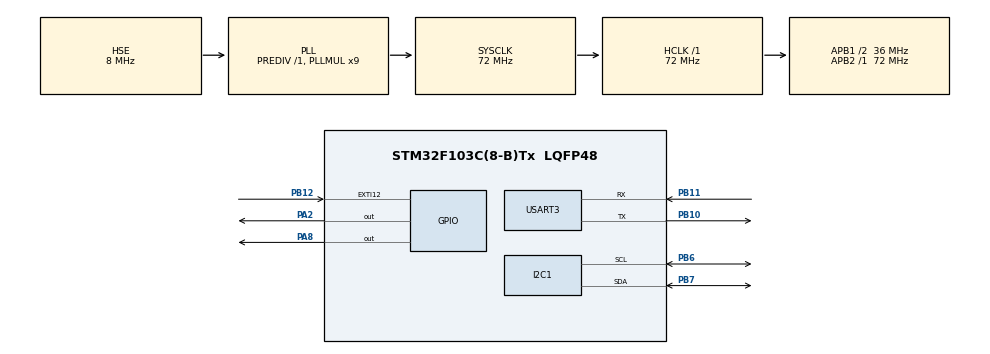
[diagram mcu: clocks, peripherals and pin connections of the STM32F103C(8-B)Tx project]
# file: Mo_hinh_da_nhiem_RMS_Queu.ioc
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FREERTOS.BinarySemaphores01=Sem_Set_CDT,Dynamic,NULL,Available;Sem_On,Dynamic,NULL,Available;Sem_Off,Dynamic,NULL,Available
FREERTOS.Mutexes01=Mutex_DHT22,Dynamic,NULL,Available;Mutex_HCSR04,Dynamic,NULL,Available
FREERTOS.Queues01=myQueue01,2,uint8_t,0,Dynamic,NULL,NULL;Queue_CDT,4,uint8_t,0,Dynamic,NULL,NULL
FREERTOS.Tasks01=Get_Distance,40,128,Funciton_Get_Distance,Default,NULL,Dynamic,NULL,NULL;Get_Temp,8,128,Function_Get_Temp,Default,NULL,Dynamic,NULL,NULL;Get_Humidity,24,128,Function_Get_Humidity,Default,NULL,Dynamic,NULL,NULL;Control_On,48,128,Function_Control_On,Default,NULL,Dynamic,NULL,NULL;LCD_UART,41,128,Function_LCD_UART,Default,NULL,Dynamic,NULL,NULL;Set_CDT,42,128,Function_Set_CDT,Default,NULL,Dynamic,NULL,NULL;Control_Off,48,128,Function_Control_Off,Default,NULL,Dynamic,NULL,NULL
FREERTOS.configTOTAL_HEAP_SIZE=12000
FREERTOS.configUSE_NEWLIB_REENTRANT=1
Mcu.Family=STM32F1
Mcu.Name=STM32F103C(8-B)Tx
Mcu.Package=LQFP48
NVIC.EXTI15_10_IRQn=true\:5\:0\:false\:false\:true\:true\:true\:true\:true
NVIC.PriorityGroup=NVIC_PRIORITYGROUP_4
NVIC.TIM2_IRQn=true\:5\:0\:false\:false\:true\:true\:true\:true\:true
NVIC.USART3_IRQn=true\:5\:0\:false\:false\:true\:true\:true\:true\:true
PA13.Mode=Serial_Wire
PA13.Signal=SYS_JTMS-SWDIO
PA14.Mode=Serial_Wire
PA14.Signal=SYS_JTCK-SWCLK
PA2.Signal=GPIO_Output
PA8.Signal=GPIO_Output
PB10.Mode=Asynchronous
PB10.Signal=USART3_TX
PB11.Mode=Asynchronous
PB11.Signal=USART3_RX
PB12.GPIO_ModeDefaultEXTI=GPIO_MODE_IT_RISING_FALLING
PB12.Signal=GPXTI12
PB6.Mode=I2C
PB6.Signal=I2C1_SCL
PB7.Mode=I2C
PB7.Signal=I2C1_SDA
PD0-OSC_IN.Mode=HSE-External-Oscillator
PD0-OSC_IN.Signal=RCC_OSC_IN
PD1-OSC_OUT.Mode=HSE-External-Oscillator
PD1-OSC_OUT.Signal=RCC_OSC_OUT
ProjectManager.HeapSize=0x200
ProjectManager.StackSize=0x400
ProjectManager.TargetToolchain=STM32CubeIDE
RCC.AHBFreq_Value=72000000
RCC.APB1CLKDivider=RCC_HCLK_DIV2
RCC.APB1Freq_Value=36000000
RCC.APB1TimFreq_Value=72000000
RCC.APB2Freq_Value=72000000
RCC.APB2TimFreq_Value=72000000
RCC.HCLKFreq_Value=72000000
RCC.PLLMUL=RCC_PLL_MUL9
RCC.PLLSourceVirtual=RCC_PLLSOURCE_HSE
RCC.SYSCLKFreq_VALUE=72000000
RCC.SYSCLKSource=RCC_SYSCLKSOURCE_PLLCLK
RCC.USBFreq_Value=72000000
TIM1.Period=29999
TIM1.Prescaler=63
TIM2.Period=2999
TIM2.Prescaler=7199
USART3.VirtualMode=VM_ASYNC
VP_FREERTOS_VS_CMSIS_V2.Mode=CMSIS_V2
VP_TIM1_VS_ClockSourceINT.Mode=Internal
VP_TIM2_VS_ClockSourceINT.Mode=Internal
board=custom

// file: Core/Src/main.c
/* USER CODE BEGIN Header */
/**
  ******************************************************************************
  * @file           : main.c
  * @brief          : Main program body
  ******************************************************************************
  * @attention
  *
  * Copyright (c) 2025 STMicroelectronics.
  * All rights reserved.
  *
  * This software is licensed under terms that can be found in the LICENSE file
  * in the root directory of this software component.
  * If no LICENSE file comes with this software, it is provided AS-IS.
  *
  ******************************************************************************
  */
/* USER CODE END Header */
#include "main.h"
#include "cmsis_os.h"

/* USER CODE BEGIN Includes */
#include <stdio.h>
#include <stdint.h>
#include <stdbool.h>
#include <string.h>
#include "dht22.h"
#include "I2C_LCD.h"
#include "stdio.h"
#include "hcsr04.h"
/* USER CODE END Includes */

/* USER CODE BEGIN PD */
#define MyI2C_LCD I2C_LCD_1
/* USER CODE END PD */

I2C_HandleTypeDef hi2c1;

TIM_HandleTypeDef htim1;
TIM_HandleTypeDef htim2;

UART_HandleTypeDef huart3;

/* Definitions for Get_Distance */
osThreadId_t Get_DistanceHandle;
const osThreadAttr_t Get_Distance_attributes = {
  .name = "Get_Distance",
  .stack_size = 128 * 4,
  .priority = (osPriority_t) osPriorityHigh,
};
/* Definitions for Get_Temp */
osThreadId_t Get_TempHandle;
const osThreadAttr_t Get_Temp_attributes = {
  .name = "Get_Temp",
  .stack_size = 128 * 4,
  .priority = (osPriority_t) osPriorityLow,
};
/* Definitions for Get_Humidity */
osThreadId_t Get_HumidityHandle;
const osThreadAttr_t Get_Humidity_attributes = {
  .name = "Get_Humidity",
  .stack_size = 128 * 4,
  .priority = (osPriority_t) osPriorityNormal,
};
/* Definitions for Control_On */
osThreadId_t Control_OnHandle;
const osThreadAttr_t Control_On_attributes = {
  .name = "Control_On",
  .stack_size = 128 * 4,
  .priority = (osPriority_t) osPriorityRealtime,
};
/* Definitions for LCD_UART */
osThreadId_t LCD_UARTHandle;
const osThreadAttr_t LCD_UART_attributes = {
  .name = "LCD_UART",
  .stack_size = 128 * 4,
  .priority = (osPriority_t) osPriorityHigh1,
};
/* Definitions for Set_CDT */
osThreadId_t Set_CDTHandle;
const osThreadAttr_t Set_CDT_attributes = {
  .name = "Set_CDT",
  .stack_size = 128 * 4,
  .priority = (osPriority_t) osPriorityHigh2,
};
/* Definitions for Control_Off */
osThreadId_t Control_OffHandle;
const osThreadAttr_t Control_Off_attributes = {
  .name = "Control_Off",
  .stack_size = 128 * 4,
  .priority = (osPriority_t) osPriorityRealtime,
};
/* Definitions for myQueue01 */
osMessageQueueId_t myQueue01Handle;
const osMessageQueueAttr_t myQueue01_attributes = {
  .name = "myQueue01"
};
/* Definitions for Queue_CDT */
osMessageQueueId_t Queue_CDTHandle;
const osMessageQueueAttr_t Queue_CDT_attributes = {
  .name = "Queue_CDT"
};
/* Definitions for Mutex_DHT22 */
osMutexId_t Mutex_DHT22Handle;
const osMutexAttr_t Mutex_DHT22_attributes = {
  .name = "Mutex_DHT22"
};
/* Definitions for Mutex_HCSR04 */
osMutexId_t Mutex_HCSR04Handle;
const osMutexAttr_t Mutex_HCSR04_attributes = {
  .name = "Mutex_HCSR04"
};
/* Definitions for Sem_Set_CDT */
osSemaphoreId_t Sem_Set_CDTHandle;
const osSemaphoreAttr_t Sem_Set_CDT_attributes = {
  .name = "Sem_Set_CDT"
};
/* Definitions for Sem_On */
osSemaphoreId_t Sem_OnHandle;
const osSemaphoreAttr_t Sem_On_attributes = {
  .name = "Sem_On"
};
/* Definitions for Sem_Off */
osSemaphoreId_t Sem_OffHandle;
const osSemaphoreAttr_t Sem_Off_attributes = {
  .name = "Sem_Off"
};
/* USER CODE BEGIN PV */
char buf1[16],buf2[16],buf[20]; // 1 dòng LCD chỉ có 16 ký tự
float T,H;
int time_offset = 100, i=0, interprut = 0;
uint8_t RX_data,index_buf = 0;
int start =0,RX_done=0;
uint32_t count=0;
#define RX_BUFFER_SIZE 20
uint8_t rxBuffer[20];  // Bộ đệm nhận dữ liệu
uint8_t rxData;                    // Lưu dữ liệu từng byte
int T_Distace = 200, T_Temp = 400, T_Humidity = 600;  //Chu kỳ cho từng task
int received_id; //id push vào hàng đợi
/* USER CODE END PV */

void SystemClock_Config(void);
static void MX_GPIO_Init(void);
static void MX_USART3_UART_Init(void);
static void MX_I2C1_Init(void);
static void MX_TIM1_Init(void);
static void MX_TIM2_Init(void);
void Funciton_Get_Distance(void *argument);
void Function_Get_Temp(void *argument);
void Function_Get_Humidity(void *argument);
void Function_Control_On(void *argument);
void Function_LCD_UART(void *argument);
void Function_Set_CDT(void *argument);
void Function_Control_Off(void *argument);

/* USER CODE BEGIN 0 */
#ifdef	__GNUC__
		#define PUTCHAR_PROTOTYPE int	__io_putchar(int ch)
#else
		#define PUTCHAR_PROTOTYPE int fputc(int ch, FILE *f)
#endif
 PUTCHAR_PROTOTYPE
{
	HAL_UART_Transmit(&huart3, (uint8_t *)&ch,1,0xFFFF);
	return ch;
}
 void SPTTS_Task1(void){
	 if (hc04_state == HCSR04_IDLE_STATE) {
	 	HCSR04_Start();
	 }
	 HCSR04_Handle();
	 sprintf(buf1,"D = %.1f cm", hcsr04_distance);
	 sprintf(buf2,"T=%.1f,H=%.1f", T,H);
	 I2C_LCD_Clear(MyI2C_LCD);
	 I2C_LCD_SetCursor(MyI2C_LCD, 0, 0);
	 I2C_LCD_WriteString(MyI2C_LCD, buf1);
	 I2C_LCD_SetCursor(MyI2C_LCD, 0, 1);
	 I2C_LCD_WriteString(MyI2C_LCD, buf2);
	 printf("D = %.1f\r\n",hcsr04_distance);
 }
 void SPTTS_Task2(void){
 	DHT22_Get_Humidity(&H);
 	sprintf(buf1,"D = %.1f cm", hcsr04_distance);
 	sprintf(buf2,"T=%.1f,H=%.1f", T,H);
 	I2C_LCD_SetCursor(MyI2C_LCD, 0, 0);
 	I2C_LCD_Clear(MyI2C_LCD);
 	I2C_LCD_WriteString(MyI2C_LCD, buf1);
 	I2C_LCD_SetCursor(MyI2C_LCD, 0, 11);
 	I2C_LCD_WriteString(MyI2C_LCD, buf2);
	printf("H = %.1f\r\n",H);
  }
 void SPTTS_Task3(void){
	 DHT22_Get_Temp(&T);
	 sprintf(buf1,"D = %.1f cm", hcsr04_distance);
	 sprintf(buf2,"T=%.1f,H=%.1f", T,H);
	 I2C_LCD_Clear(MyI2C_LCD);
	 I2C_LCD_SetCursor(MyI2C_LCD, 0, 0);
	 I2C_LCD_WriteString(MyI2C_LCD, buf1);
	 I2C_LCD_SetCursor(MyI2C_LCD, 0, 1);
	 I2C_LCD_WriteString(MyI2C_LCD, buf2);
	 printf("T = %.1f\r\n",T);
 }
 bool is_valid_format(const char *input, int num1, int num2, int num3, int num4) {
 			    // Sử dụng sscanf để kiểm tra định dạng
 			    int count = sscanf(input, "%d %d %d %d", &num1, &num2, &num3, &num4);

 			    // Nếu đúng định dạng "%d %d %d %d", sscanf sẽ trả về 4 (số giá trị đọc được)
 			    // Nếu có thêm ký tự dư thừa, count sẽ lớn hơn 4
 			    if ((num1 == 1 || num1==2 || num1 == 3)&& (count ==4)){
 			    	return 1;
 			    }
 			    else return 0;

 			}

/* USER CODE END 0 */

int main(void)
{

  /* MCU Configuration--------------------------------------------------------*/

  /* Reset of all peripherals, Initializes the Flash interface and the Systick. */
  HAL_Init();

  /* Configure the system clock */
  SystemClock_Config();

  /* Initialize all configured peripherals */
  MX_GPIO_Init();
  MX_USART3_UART_Init();
  MX_I2C1_Init();
  MX_TIM1_Init();
  MX_TIM2_Init();
  /* USER CODE BEGIN 2 */
  CoreDebug->DEMCR |= CoreDebug_DEMCR_TRCENA_Msk;
  DWT->CTRL |= DWT_CTRL_CYCCNTENA_Msk;
  // Bắt đầu Timer 2 ở chế độ ngắt
    //HAL_TIM_Base_Start_IT(&htim2);
  dht22_init();
  HCSR04_Init(&htim1);
  I2C_LCD_Init(MyI2C_LCD);
  HAL_UART_Receive_IT(&huart3, &RX_data, 1);

  /* USER CODE END 2 */

  /* Init scheduler */
  osKernelInitialize();
  /* Create the mutex(es) */
  /* creation of Mutex_DHT22 */
  Mutex_DHT22Handle = osMutexNew(&Mutex_DHT22_attributes);

  /* creation of Mutex_HCSR04 */
  Mutex_HCSR04Handle = osMutexNew(&Mutex_HCSR04_attributes);

  /* Create the semaphores(s) */
  /* creation of Sem_Set_CDT */
  Sem_Set_CDTHandle = osSemaphoreNew(1, 1, &Sem_Set_CDT_attributes);

  /* creation of Sem_On */
  Sem_OnHandle = osSemaphoreNew(1, 1, &Sem_On_attributes);

  /* creation of Sem_Off */
  Sem_OffHandle = osSemaphoreNew(1, 1, &Sem_Off_attributes);

  /* Create the queue(s) */
  /* creation of myQueue01 */
  myQueue01Handle = osMessageQueueNew (2, sizeof(uint8_t), &myQueue01_attributes);

  /* creation of Queue_CDT */
  Queue_CDTHandle = osMessageQueueNew (4, sizeof(uint8_t), &Queue_CDT_attributes);

  /* Create the thread(s) */
  /* creation of Get_Distance */
  Get_DistanceHandle = osThreadNew(Funciton_Get_Distance, NULL, &Get_Distance_attributes);

  /* creation of Get_Temp */
  Get_TempHandle = osThreadNew(Function_Get_Temp, NULL, &Get_Temp_attributes);

  /* creation of Get_Humidity */
  Get_HumidityHandle = osThreadNew(Function_Get_Humidity, NULL, &Get_Humidity_attributes);

  /* creation of Control_On */
  Control_OnHandle = osThreadNew(Function_Control_On, NULL, &Control_On_attributes);

  /* creation of LCD_UART */
  LCD_UARTHandle = osThreadNew(Function_LCD_UART, NULL, &LCD_UART_attributes);

  /* creation of Set_CDT */
  Set_CDTHandle = osThreadNew(Function_Set_CDT, NULL, &Set_CDT_attributes);

  /* creation of Control_Off */
  Control_OffHandle = osThreadNew(Function_Control_Off, NULL, &Control_Off_attributes);

  /* Start scheduler */
  osKernelStart();

  /* We should never get here as control is now taken by the scheduler */

  /* Infinite loop */
  while (1)
  {

  }
}

void SystemClock_Config(void)
{
  RCC_OscInitTypeDef RCC_OscInitStruct = {0};
  RCC_ClkInitTypeDef RCC_ClkInitStruct = {0};

  /** Initializes the RCC Oscillators according to the specified parameters
  * in the RCC_OscInitTypeDef structure.
  */
  RCC_OscInitStruct.OscillatorType = RCC_OSCILLATORTYPE_HSE;
  RCC_OscInitStruct.HSEState = RCC_HSE_ON;
  RCC_OscInitStruct.HSEPredivValue = RCC_HSE_PREDIV_DIV1;
  RCC_OscInitStruct.HSIState = RCC_HSI_ON;
  RCC_OscInitStruct.PLL.PLLState = RCC_PLL_ON;
  RCC_OscInitStruct.PLL.PLLSource = RCC_PLLSOURCE_HSE;
  RCC_OscInitStruct.PLL.PLLMUL = RCC_PLL_MUL9;
  if (HAL_RCC_OscConfig(&RCC_OscInitStruct) != HAL_OK)
  {
    Error_Handler();
  }

  /** Initializes the CPU, AHB and APB buses clocks
  */
  RCC_ClkInitStruct.ClockType = RCC_CLOCKTYPE_HCLK|RCC_CLOCKTYPE_SYSCLK
                              |RCC_CLOCKTYPE_PCLK1|RCC_CLOCKTYPE_PCLK2;
  RCC_ClkInitStruct.SYSCLKSource = RCC_SYSCLKSOURCE_PLLCLK;
  RCC_ClkInitStruct.AHBCLKDivider = RCC_SYSCLK_DIV1;
  RCC_ClkInitStruct.APB1CLKDivider = RCC_HCLK_DIV2;
  RCC_ClkInitStruct.APB2CLKDivider = RCC_HCLK_DIV1;

  if (HAL_RCC_ClockConfig(&RCC_ClkInitStruct, FLASH_LATENCY_2) != HAL_OK)
  {
    Error_Handler();
  }
}

static void MX_I2C1_Init(void)
{

  hi2c1.Instance = I2C1;
  hi2c1.Init.ClockSpeed = 100000;
  hi2c1.Init.DutyCycle = I2C_DUTYCYCLE_2;
  hi2c1.Init.OwnAddress1 = 0;
  hi2c1.Init.AddressingMode = I2C_ADDRESSINGMODE_7BIT;
  hi2c1.Init.DualAddressMode = I2C_DUALADDRESS_DISABLE;
  hi2c1.Init.OwnAddress2 = 0;
  hi2c1.Init.GeneralCallMode = I2C_GENERALCALL_DISABLE;
  hi2c1.Init.NoStretchMode = I2C_NOSTRETCH_DISABLE;
  if (HAL_I2C_Init(&hi2c1) != HAL_OK)
  {
    Error_Handler();
  }

}

static void MX_TIM1_Init(void)
{

  TIM_ClockConfigTypeDef sClockSourceConfig = {0};
  TIM_MasterConfigTypeDef sMasterConfig = {0};

  htim1.Instance = TIM1;
  htim1.Init.Prescaler = 63;
  htim1.Init.CounterMode = TIM_COUNTERMODE_UP;
  htim1.Init.Period = 29999;
  htim1.Init.ClockDivision = TIM_CLOCKDIVISION_DIV1;
  htim1.Init.RepetitionCounter = 0;
  htim1.Init.AutoReloadPreload = TIM_AUTORELOAD_PRELOAD_DISABLE;
  if (HAL_TIM_Base_Init(&htim1) != HAL_OK)
  {
    Error_Handler();
  }
  sClockSourceConfig.ClockSource = TIM_CLOCKSOURCE_INTERNAL;
  if (HAL_TIM_ConfigClockSource(&htim1, &sClockSourceConfig) != HAL_OK)
  {
    Error_Handler();
  }
  sMasterConfig.MasterOutputTrigger = TIM_TRGO_RESET;
  sMasterConfig.MasterSlaveMode = TIM_MASTERSLAVEMODE_DISABLE;
  if (HAL_TIMEx_MasterConfigSynchronization(&htim1, &sMasterConfig) != HAL_OK)
  {
    Error_Handler();
  }

}

static void MX_TIM2_Init(void)
{

  TIM_ClockConfigTypeDef sClockSourceConfig = {0};
  TIM_MasterConfigTypeDef sMasterConfig = {0};

  htim2.Instance = TIM2;
  htim2.Init.Prescaler = 7199;
  htim2.Init.CounterMode = TIM_COUNTERMODE_UP;
  htim2.Init.Period = 2999;
  htim2.Init.ClockDivision = TIM_CLOCKDIVISION_DIV1;
  htim2.Init.AutoReloadPreload = TIM_AUTORELOAD_PRELOAD_DISABLE;
  if (HAL_TIM_Base_Init(&htim2) != HAL_OK)
  {
    Error_Handler();
  }
  sClockSourceConfig.ClockSource = TIM_CLOCKSOURCE_INTERNAL;
  if (HAL_TIM_ConfigClockSource(&htim2, &sClockSourceConfig) != HAL_OK)
  {
    Error_Handler();
  }
  sMasterConfig.MasterOutputTrigger = TIM_TRGO_RESET;
  sMasterConfig.MasterSlaveMode = TIM_MASTERSLAVEMODE_DISABLE;
  if (HAL_TIMEx_MasterConfigSynchronization(&htim2, &sMasterConfig) != HAL_OK)
  {
    Error_Handler();
  }

}

static void MX_USART3_UART_Init(void)
{

  huart3.Instance = USART3;
  huart3.Init.BaudRate = 115200;
  huart3.Init.WordLength = UART_WORDLENGTH_8B;
  huart3.Init.StopBits = UART_STOPBITS_1;
  huart3.Init.Parity = UART_PARITY_NONE;
  huart3.Init.Mode = UART_MODE_TX_RX;
  huart3.Init.HwFlowCtl = UART_HWCONTROL_NONE;
  huart3.Init.OverSampling = UART_OVERSAMPLING_16;
  if (HAL_UART_Init(&huart3) != HAL_OK)
  {
    Error_Handler();
  }

}

static void MX_GPIO_Init(void)
{
  GPIO_InitTypeDef GPIO_InitStruct = {0};

  /* GPIO Ports Clock Enable */
  __HAL_RCC_GPIOD_CLK_ENABLE();
  __HAL_RCC_GPIOA_CLK_ENABLE();
  __HAL_RCC_GPIOB_CLK_ENABLE();

  /*Configure GPIO pin Output Level */
  HAL_GPIO_WritePin(GPIOA, GPIO_PIN_2|GPIO_PIN_8, GPIO_PIN_RESET);

  /*Configure GPIO pins : PA2 PA8 */
  GPIO_InitStruct.Pin = GPIO_PIN_2|GPIO_PIN_8;
  GPIO_InitStruct.Mode = GPIO_MODE_OUTPUT_PP;
  GPIO_InitStruct.Pull = GPIO_NOPULL;
  GPIO_InitStruct.Speed = GPIO_SPEED_FREQ_LOW;
  HAL_GPIO_Init(GPIOA, &GPIO_InitStruct);

  /*Configure GPIO pin : PB12 */
  GPIO_InitStruct.Pin = GPIO_PIN_12;
  GPIO_InitStruct.Mode = GPIO_MODE_IT_RISING_FALLING;
  GPIO_InitStruct.Pull = GPIO_NOPULL;
  HAL_GPIO_Init(GPIOB, &GPIO_InitStruct);

  /* EXTI interrupt init*/
  HAL_NVIC_SetPriority(EXTI15_10_IRQn, 5, 0);
  HAL_NVIC_EnableIRQ(EXTI15_10_IRQn);

}

/* USER CODE BEGIN 4 */
//void HAL_UART_RxCpltCallback(UART_HandleTypeDef *huart) {
//    if (huart->Instance == huart3.Instance) {
//    	printf("Da nhay vao ngat\r\n");
//    	osSemaphoreRelease(Sem_OnHandle);
//    	switch (RX_data){
//			case 48:
//				printf("Giai phong semaphor off\r\n");
//				start = 0;
//				break;
//			case 49:
//				printf("Giai phong semaphor on\r\n");
//				start = 1;
//				break;
//			default:
//				// Không hợp lệ, không thực hiện gì
//				break;
//    	 }
//    	HAL_UART_Receive_IT(&huart3, &RX_data, 1);
//    }
//}

//void HAL_UART_RxCpltCallback(UART_HandleTypeDef *huart) {
//    if (huart->Instance == huart3.Instance) {
//        if (RX_data == 48) { // '0'
//            osThreadFlagsSet(Control_OffHandle, 0x01);
//            printf("ThreadFlag Off\r\n");// Gửi tín hiệu đến task Control_Off
//        } else if (RX_data == 49) { // '1'
//        	int id = 1;
//        	osMessageQueuePut(Queue_CDTHandle, &id, 0, 0);
//        }else if (RX_data == 50){
//        	int id = 2;
//        	osMessageQueuePut(Queue_CDTHandle, &id, 0, 0);
//        }
//
//        HAL_UART_Receive_IT(&huart3, &RX_data, 1); // Tiếp tục nhận UART
//    }
//}
void HAL_UART_RxCpltCallback(UART_HandleTypeDef *huart) {
	UNUSED(huart);
	if (huart->Instance == huart3.Instance) {
		if(RX_data !=46)
		{ //NULL ASCII
			rxBuffer[index_buf++] = RX_data;//Them du lieu vao buffer
		}
		else if(RX_data==46)
		{
			index_buf = 0; // xoa con tro du lieu
			sprintf (buf,rxBuffer);
			memset(rxBuffer,0,strlen(rxBuffer));
			if(strcmp(buf,"start")==0){
				int id = 1;
				osMessageQueuePut(Queue_CDTHandle, &id, 0, 0);
			}
			if(strcmp(buf,"stop")==0){
				osThreadFlagsSet(Control_OffHandle, 0x01);
			}
			if(strcmp(buf,"set")==0){
				int id = 2;
				osMessageQueuePut(Queue_CDTHandle, &id, 0, 0);
			}
		}
		HAL_UART_Receive_IT(&huart3, &RX_data, 1);
	}
}
/* USER CODE END 4 */

void Funciton_Get_Distance(void *argument)
{
  /* USER CODE BEGIN 5 */
  /* Infinite loop */
  for(;;)
  {
	printf("@%lu Start task Distance\r\n", osKernelGetSysTimerCount());
	int id = 1;
	if (hc04_state == HCSR04_IDLE_STATE) {
		HCSR04_Start();
	}

	HCSR04_Handle();
	osMessageQueuePut(myQueue01Handle, &id, 0, 0);
	// Giải phóng quyền sử dụng tài nguyên
    osDelay(T_Distace );
  }
  /* USER CODE END 5 */
}

void Function_Get_Temp(void *argument)
{
  /* USER CODE BEGIN Function_Get_Temp */
	osPriority_t originalPriority = osThreadGetPriority(Get_TempHandle); // Lưu mức ưu tiên ban đầu
  /* Infinite loop */
  for(;;)
  {
	printf("@%lu Start task Temp\r\n", osKernelGetSysTimerCount());
	osThreadSetPriority(Get_TempHandle, osPriorityRealtime); // Tăng ưu tiên tạm thời
	int id = 3;
	DHT22_Get_Temp(&T);
	osMessageQueuePut(myQueue01Handle, &id, 0, 0);
	osThreadSetPriority(Get_TempHandle, originalPriority); // Khôi phục ưu tiên ban đầu
    osDelay(T_Temp);
  }
  /* USER CODE END Function_Get_Temp */
}

void Function_Get_Humidity(void *argument)
{
  /* USER CODE BEGIN Function_Get_Humidity */
	osPriority_t originalPriority = osThreadGetPriority(Get_HumidityHandle); // Lưu mức ưu tiên ban đầu
  /* Infinite loop */
  for(;;)
  {
	printf("@%lu Start task Humi\r\n", osKernelGetSysTimerCount());
	osThreadSetPriority(Get_HumidityHandle, osPriorityRealtime); // Tăng ưu tiên tạm thời
	int id =2;
	DHT22_Get_Humidity(&H);
	osMessageQueuePut(myQueue01Handle, &id, 0, 0); // Push id vào hàng đợi
	osThreadSetPriority(Get_HumidityHandle, originalPriority); // Khôi phục ưu tiên ban đầu
    osDelay(T_Humidity);
  }
  /* USER CODE END Function_Get_Humidity */
}

void Function_Control_On(void *argument)
{
  /* USER CODE BEGIN Function_Control_On */
  /* Infinite loop */
  for(;;)
  {
	  osThreadFlagsWait(0x01, osFlagsWaitAny, osWaitForever); // Chờ tín hiệu từ ISR
	  printf("System resumed.\r\n");
	  osThreadResume(Get_DistanceHandle);
	  osThreadResume(Get_HumidityHandle);
	  osThreadResume(Get_TempHandle);
  }
  /* USER CODE END Function_Control_On */
}

void Function_LCD_UART(void *argument)
{
  /* USER CODE BEGIN Function_LCD_UART */
  /* Infinite loop */
  for(;;)
  {
// Chờ dữ liệu từ hàng đợi
	  osMessageQueueGet(myQueue01Handle,&received_id, NULL, osWaitForever);
	  // Kiểm tra giá trị dữ liệu và thực hiện hành động tương ứng
	  switch (received_id) {
		  case 1:
			  sprintf(buf1,"D = %.1f cm", hcsr04_distance);
			  I2C_LCD_SetCursor(MyI2C_LCD, 0, 0);
			  I2C_LCD_WriteString(MyI2C_LCD, buf1);
			  printf("D = %.1f\r\n",hcsr04_distance);
			  break;

		  case 2:
			sprintf(buf2,"T=%.1f,H=%.1f", T,H);
			I2C_LCD_SetCursor(MyI2C_LCD, 0, 1);
			I2C_LCD_WriteString(MyI2C_LCD, buf2);
			printf("H = %.1f\r\n",H);
			break;

		  case 3:
			 sprintf(buf2,"T=%.1f,H=%.1f", T,H);
			 I2C_LCD_SetCursor(MyI2C_LCD, 0, 1);
			 I2C_LCD_WriteString(MyI2C_LCD, buf2);
			 printf("T = %.1f\r\n",T);
			 break;
	  }
  }
  /* USER CODE END Function_LCD_UART */
}

void Function_Set_CDT(void *argument)
{
  /* USER CODE BEGIN Function_Set_CDT */
  /* Infinite loop */
  for(;;)
  {
	osMessageQueueGet(Queue_CDTHandle,&received_id, NULL, osWaitForever);
	 switch (received_id) {
		case 1:
				  printf("Resume System\r\n");
				  I2C_LCD_Clear(MyI2C_LCD);
				  osThreadResume(Get_DistanceHandle);
				  osThreadResume(Get_TempHandle);
				  osThreadResume(Get_HumidityHandle);
				  break;
		case 2:
			osThreadSuspend(Get_DistanceHandle);
			osThreadSuspend(Get_HumidityHandle);
			osThreadSuspend(Get_TempHandle);
			printf("Nhap tham so thoi gian theo dataframe: id_task C D T\r\n") ;
			printf("Luu y: C co 3 chu so, D&T co 4 chu so\r\n");
			int id,C,D,T;
			while (!RX_done){
				if(strlen(buf)>0){
					if(is_valid_format(buf,&id,&C,&D,&T)){
						break;
					}
					else{
						memset(buf,0,strlen(buf));
						printf("Hay nhap dung dinh dang tham so\r\n");
						HAL_UART_Receive_IT(&huart3, &RX_data, 1);
					}
				}
			}
			printf("Nhan duoc tham so hop le\r\n");
			switch (id){
			case 1:
				T_Distace = T;
				break;
			case 2:
				T_Humidity = T;
				break;
			case 3:
				T_Temp = T;
				break;
			}
			printf("Da set tham so thanh cong!, he thong se khoi dong lai sau 2s...\r\n");
			HAL_Delay(2000);
			osThreadResume(Get_DistanceHandle);
			osThreadResume(Get_HumidityHandle);
			osThreadResume(Get_TempHandle);
	 }
  /* USER CODE END Function_Set_CDT */
  }
}

void Function_Control_Off(void *argument)
{
  /* USER CODE BEGIN Function_Control_Off */
	osThreadSuspend(Get_DistanceHandle);
	osThreadSuspend(Get_HumidityHandle);
	osThreadSuspend(Get_TempHandle);
	I2C_LCD_Clear(MyI2C_LCD);
	sprintf(buf,"   Send start");
	I2C_LCD_SetCursor(MyI2C_LCD, 0, 0);
	I2C_LCD_WriteString(MyI2C_LCD, buf);
	sprintf(buf," to run system");
	I2C_LCD_SetCursor(MyI2C_LCD, 0, 1);
	I2C_LCD_WriteString(MyI2C_LCD, buf);
	printf("Gui start qua UART de chay he thong\r\n");

  /* Infinite loop */
  for(;;)
  {
	 osThreadFlagsWait(0x01, osFlagsWaitAny, osWaitForever); // Chờ tín hiệu từ ISR

	 osThreadSuspend(Get_DistanceHandle);
	 osThreadSuspend(Get_HumidityHandle);
	 osThreadSuspend(Get_TempHandle);
	 I2C_LCD_Clear(MyI2C_LCD);
	 printf("System paused.\r\n");
	 printf("Send start to resume system");
	 sprintf(buf,"   Send start");
	 I2C_LCD_SetCursor(MyI2C_LCD, 0, 0);
	 I2C_LCD_WriteString(MyI2C_LCD, buf);
	 sprintf(buf,"to resume system");
	 I2C_LCD_SetCursor(MyI2C_LCD, 0, 1);
	 I2C_LCD_WriteString(MyI2C_LCD, buf);
  }
  /* USER CODE END Function_Control_Off */
}

void Error_Handler(void)
{
  __disable_irq();
  while (1)
  {
  }
}
